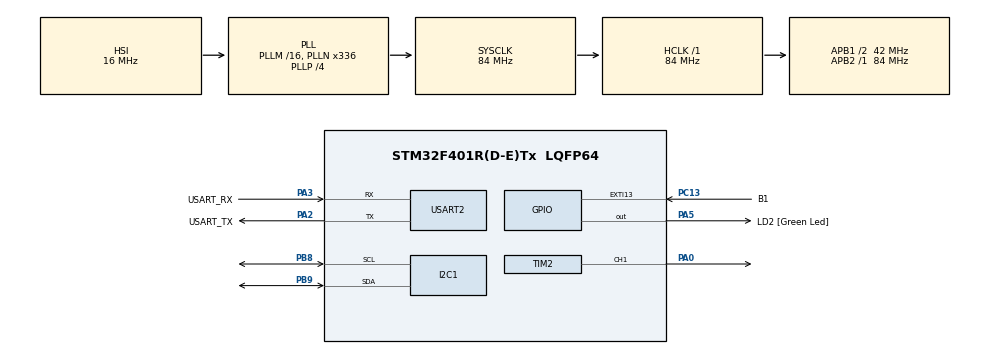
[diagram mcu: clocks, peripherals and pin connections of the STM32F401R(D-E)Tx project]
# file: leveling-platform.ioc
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Mcu.Family=STM32F4
Mcu.Name=STM32F401R(D-E)Tx
Mcu.Package=LQFP64
NVIC.EXTI15_10_IRQn=true\:0\:0\:false\:false\:true\:true\:true\:true
NVIC.PriorityGroup=NVIC_PRIORITYGROUP_0
NVIC.TIM3_IRQn=true\:0\:0\:false\:false\:true\:true\:true\:true
PA0-WKUP.Signal=S_TIM2_CH1_ETR
PA13.GPIO_Label=TMS
PA13.Mode=Serial_Wire
PA13.Signal=SYS_JTMS-SWDIO
PA14.GPIO_Label=TCK
PA14.Mode=Serial_Wire
PA14.Signal=SYS_JTCK-SWCLK
PA2.GPIO_Label=USART_TX
PA2.GPIO_Mode=GPIO_MODE_AF_PP
PA2.GPIO_PuPd=GPIO_NOPULL
PA2.GPIO_Speed=GPIO_SPEED_FREQ_LOW
PA2.Mode=Asynchronous
PA2.Signal=USART2_TX
PA3.GPIO_Label=USART_RX
PA3.GPIO_Mode=GPIO_MODE_AF_PP
PA3.GPIO_PuPd=GPIO_NOPULL
PA3.GPIO_Speed=GPIO_SPEED_FREQ_LOW
PA3.Mode=Asynchronous
PA3.Signal=USART2_RX
PA5.GPIO_Label=LD2 [Green Led]
PA5.GPIO_Mode=GPIO_MODE_OUTPUT_PP
PA5.GPIO_PuPd=GPIO_NOPULL
PA5.GPIO_Speed=GPIO_SPEED_FREQ_LOW
PA5.Signal=GPIO_Output
PB3.GPIO_Label=SWO
PB3.Signal=SYS_JTDO-SWO
PB8.Mode=I2C
PB8.Signal=I2C1_SCL
PB9.Mode=I2C
PB9.Signal=I2C1_SDA
PC13-ANTI_TAMP.GPIO_Label=B1
PC13-ANTI_TAMP.GPIO_ModeDefaultEXTI=GPIO_MODE_IT_FALLING
PC13-ANTI_TAMP.GPIO_PuPd=GPIO_NOPULL
PC13-ANTI_TAMP.Signal=GPXTI13
PC14-OSC32_IN.Signal=RCC_OSC32_IN
PC15-OSC32_OUT.Signal=RCC_OSC32_OUT
PH0\ -\ OSC_IN.Signal=RCC_OSC_IN
PH1\ -\ OSC_OUT.Signal=RCC_OSC_OUT
ProjectManager.HeapSize=0x200
ProjectManager.StackSize=0x400
ProjectManager.TargetToolchain=CMake
RCC.AHBFreq_Value=84000000
RCC.APB1CLKDivider=RCC_HCLK_DIV2
RCC.APB1Freq_Value=42000000
RCC.APB1TimFreq_Value=84000000
RCC.APB2Freq_Value=84000000
RCC.APB2TimFreq_Value=84000000
RCC.CortexFreq_Value=84000000
RCC.HCLKFreq_Value=84000000
RCC.HSE_VALUE=8000000
RCC.HSI_VALUE=16000000
RCC.LSE_VALUE=32768
RCC.PLLN=336
RCC.PLLP=RCC_PLLP_DIV4
RCC.PLLQ=7
RCC.SYSCLKFreq_VALUE=84000000
RCC.SYSCLKSource=RCC_SYSCLKSOURCE_PLLCLK
RCC.VCOOutputFreq_Value=336000000
SH.S_TIM2_CH1_ETR.0=TIM2_CH1,PWM Generation1 CH1
TIM2.Channel-PWM\ Generation1\ CH1=TIM_CHANNEL_1
TIM2.Period=19999
TIM2.Prescaler=83
TIM2.Pulse-PWM\ Generation1\ CH1=1500
TIM3.Period=9999
TIM3.Prescaler=83
USART2.VirtualMode=VM_ASYNC
VP_TIM2_VS_ClockSourceINT.Mode=Internal
VP_TIM3_VS_ClockSourceINT.Mode=Internal
board=NUCLEO-F401RE

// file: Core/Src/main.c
/* USER CODE BEGIN Header */
/**
  ******************************************************************************
  * @file           : main.c
  * @brief          : Main program body
  ******************************************************************************
  * @attention
  *
  * Copyright (c) 2026 STMicroelectronics.
  * All rights reserved.
  *
  * This software is licensed under terms that can be found in the LICENSE file
  * in the root directory of this software component.
  * If no LICENSE file comes with this software, it is provided AS-IS.
  *
  ******************************************************************************
  */
/* USER CODE END Header */
#include "main.h"

/* USER CODE BEGIN Includes */
#include "serial.h"
#include "servo.h"
#include "imu.h"
#include "tick.h"
#include "button.h"
/* USER CODE END Includes */

/* USER CODE BEGIN PD */

#define SERVO_MOUNT_DIRECTION (-1.0f) // servo shaft points right: its + direction is opposite to the IMU's
#define PRINT_EVERY_N_PASSES 10
/* USER CODE END PD */

I2C_HandleTypeDef hi2c1;

TIM_HandleTypeDef htim2;
TIM_HandleTypeDef htim3;

UART_HandleTypeDef huart2;

void SystemClock_Config(void);
static void MX_GPIO_Init(void);
static void MX_USART2_UART_Init(void);
static void MX_TIM2_Init(void);
static void MX_I2C1_Init(void);
static void MX_TIM3_Init(void);

int main(void)
{

  /* MCU Configuration--------------------------------------------------------*/

  /* Reset of all peripherals, Initializes the Flash interface and the Systick. */
  HAL_Init();

  /* Configure the system clock */
  SystemClock_Config();

  /* Initialize all configured peripherals */
  MX_GPIO_Init();
  MX_USART2_UART_Init();
  MX_TIM2_Init();
  MX_I2C1_Init();
  MX_TIM3_Init();
  /* USER CODE BEGIN 2 */
  serial_init();
  servo_init();
  if (!imu_init()) {
    serial_printf("Error initializing IMU\r\n");
    while(1);
  }
  tick_init();

  int loop_counter = 0;

  /* USER CODE END 2 */

  /* Infinite loop */
  while (1)
  {

    /* USER CODE BEGIN 3 */
    if (tick_elapsed()) {

      if (button_was_pressed()) {
        serial_printf("Calibrating, hold still...\r\n");
        if (!imu_calibrate()) {
          serial_printf("Calibration failed.\r\n");
        } else {
          serial_printf("Calibration successful.\r\n");
        }
      }

      imu_reading_g_t reading;
      if (imu_get_reading(&reading) == false) {
      serial_printf("Error getting reading\r\n");
      continue;
      }

      float angle = imu_get_filtered_angle(&reading);
      float angle_correction = -angle;
      if (!servo_set_angle(angle_correction * SERVO_MOUNT_DIRECTION)) {
        serial_printf("Out of range.\r\n");
      }

      loop_counter++;

      if (loop_counter == PRINT_EVERY_N_PASSES) {
        serial_printf("Tilt = %f, Servo = %f\r\n", angle, servo_get_last_angle());
        loop_counter = 0;
      }
    }
  }
  /* USER CODE END 3 */
}

void SystemClock_Config(void)
{
  RCC_OscInitTypeDef RCC_OscInitStruct = {0};
  RCC_ClkInitTypeDef RCC_ClkInitStruct = {0};

  /** Configure the main internal regulator output voltage
  */
  __HAL_RCC_PWR_CLK_ENABLE();
  __HAL_PWR_VOLTAGESCALING_CONFIG(PWR_REGULATOR_VOLTAGE_SCALE2);

  /** Initializes the RCC Oscillators according to the specified parameters
  * in the RCC_OscInitTypeDef structure.
  */
  RCC_OscInitStruct.OscillatorType = RCC_OSCILLATORTYPE_HSI;
  RCC_OscInitStruct.HSIState = RCC_HSI_ON;
  RCC_OscInitStruct.HSICalibrationValue = RCC_HSICALIBRATION_DEFAULT;
  RCC_OscInitStruct.PLL.PLLState = RCC_PLL_ON;
  RCC_OscInitStruct.PLL.PLLSource = RCC_PLLSOURCE_HSI;
  RCC_OscInitStruct.PLL.PLLM = 16;
  RCC_OscInitStruct.PLL.PLLN = 336;
  RCC_OscInitStruct.PLL.PLLP = RCC_PLLP_DIV4;
  RCC_OscInitStruct.PLL.PLLQ = 7;
  if (HAL_RCC_OscConfig(&RCC_OscInitStruct) != HAL_OK)
  {
    Error_Handler();
  }

  /** Initializes the CPU, AHB and APB buses clocks
  */
  RCC_ClkInitStruct.ClockType = RCC_CLOCKTYPE_HCLK|RCC_CLOCKTYPE_SYSCLK
                              |RCC_CLOCKTYPE_PCLK1|RCC_CLOCKTYPE_PCLK2;
  RCC_ClkInitStruct.SYSCLKSource = RCC_SYSCLKSOURCE_PLLCLK;
  RCC_ClkInitStruct.AHBCLKDivider = RCC_SYSCLK_DIV1;
  RCC_ClkInitStruct.APB1CLKDivider = RCC_HCLK_DIV2;
  RCC_ClkInitStruct.APB2CLKDivider = RCC_HCLK_DIV1;

  if (HAL_RCC_ClockConfig(&RCC_ClkInitStruct, FLASH_LATENCY_2) != HAL_OK)
  {
    Error_Handler();
  }
}

static void MX_I2C1_Init(void)
{

  hi2c1.Instance = I2C1;
  hi2c1.Init.ClockSpeed = 100000;
  hi2c1.Init.DutyCycle = I2C_DUTYCYCLE_2;
  hi2c1.Init.OwnAddress1 = 0;
  hi2c1.Init.AddressingMode = I2C_ADDRESSINGMODE_7BIT;
  hi2c1.Init.DualAddressMode = I2C_DUALADDRESS_DISABLE;
  hi2c1.Init.OwnAddress2 = 0;
  hi2c1.Init.GeneralCallMode = I2C_GENERALCALL_DISABLE;
  hi2c1.Init.NoStretchMode = I2C_NOSTRETCH_DISABLE;
  if (HAL_I2C_Init(&hi2c1) != HAL_OK)
  {
    Error_Handler();
  }

}

static void MX_TIM2_Init(void)
{

  TIM_ClockConfigTypeDef sClockSourceConfig = {0};
  TIM_MasterConfigTypeDef sMasterConfig = {0};
  TIM_OC_InitTypeDef sConfigOC = {0};

  htim2.Instance = TIM2;
  htim2.Init.Prescaler = 83;
  htim2.Init.CounterMode = TIM_COUNTERMODE_UP;
  htim2.Init.Period = 19999;
  htim2.Init.ClockDivision = TIM_CLOCKDIVISION_DIV1;
  htim2.Init.AutoReloadPreload = TIM_AUTORELOAD_PRELOAD_DISABLE;
  if (HAL_TIM_Base_Init(&htim2) != HAL_OK)
  {
    Error_Handler();
  }
  sClockSourceConfig.ClockSource = TIM_CLOCKSOURCE_INTERNAL;
  if (HAL_TIM_ConfigClockSource(&htim2, &sClockSourceConfig) != HAL_OK)
  {
    Error_Handler();
  }
  if (HAL_TIM_PWM_Init(&htim2) != HAL_OK)
  {
    Error_Handler();
  }
  sMasterConfig.MasterOutputTrigger = TIM_TRGO_RESET;
  sMasterConfig.MasterSlaveMode = TIM_MASTERSLAVEMODE_DISABLE;
  if (HAL_TIMEx_MasterConfigSynchronization(&htim2, &sMasterConfig) != HAL_OK)
  {
    Error_Handler();
  }
  sConfigOC.OCMode = TIM_OCMODE_PWM1;
  sConfigOC.Pulse = 1500;
  sConfigOC.OCPolarity = TIM_OCPOLARITY_HIGH;
  sConfigOC.OCFastMode = TIM_OCFAST_DISABLE;
  if (HAL_TIM_PWM_ConfigChannel(&htim2, &sConfigOC, TIM_CHANNEL_1) != HAL_OK)
  {
    Error_Handler();
  }
  HAL_TIM_MspPostInit(&htim2);

}

static void MX_TIM3_Init(void)
{

  TIM_ClockConfigTypeDef sClockSourceConfig = {0};
  TIM_MasterConfigTypeDef sMasterConfig = {0};

  htim3.Instance = TIM3;
  htim3.Init.Prescaler = 83;
  htim3.Init.CounterMode = TIM_COUNTERMODE_UP;
  htim3.Init.Period = 9999;
  htim3.Init.ClockDivision = TIM_CLOCKDIVISION_DIV1;
  htim3.Init.AutoReloadPreload = TIM_AUTORELOAD_PRELOAD_DISABLE;
  if (HAL_TIM_Base_Init(&htim3) != HAL_OK)
  {
    Error_Handler();
  }
  sClockSourceConfig.ClockSource = TIM_CLOCKSOURCE_INTERNAL;
  if (HAL_TIM_ConfigClockSource(&htim3, &sClockSourceConfig) != HAL_OK)
  {
    Error_Handler();
  }
  sMasterConfig.MasterOutputTrigger = TIM_TRGO_RESET;
  sMasterConfig.MasterSlaveMode = TIM_MASTERSLAVEMODE_DISABLE;
  if (HAL_TIMEx_MasterConfigSynchronization(&htim3, &sMasterConfig) != HAL_OK)
  {
    Error_Handler();
  }

}

static void MX_USART2_UART_Init(void)
{

  huart2.Instance = USART2;
  huart2.Init.BaudRate = 115200;
  huart2.Init.WordLength = UART_WORDLENGTH_8B;
  huart2.Init.StopBits = UART_STOPBITS_1;
  huart2.Init.Parity = UART_PARITY_NONE;
  huart2.Init.Mode = UART_MODE_TX_RX;
  huart2.Init.HwFlowCtl = UART_HWCONTROL_NONE;
  huart2.Init.OverSampling = UART_OVERSAMPLING_16;
  if (HAL_UART_Init(&huart2) != HAL_OK)
  {
    Error_Handler();
  }

}

static void MX_GPIO_Init(void)
{
  GPIO_InitTypeDef GPIO_InitStruct = {0};

  /* GPIO Ports Clock Enable */
  __HAL_RCC_GPIOC_CLK_ENABLE();
  __HAL_RCC_GPIOH_CLK_ENABLE();
  __HAL_RCC_GPIOA_CLK_ENABLE();
  __HAL_RCC_GPIOB_CLK_ENABLE();

  /*Configure GPIO pin Output Level */
  HAL_GPIO_WritePin(LD2_GPIO_Port, LD2_Pin, GPIO_PIN_RESET);

  /*Configure GPIO pin : B1_Pin */
  GPIO_InitStruct.Pin = B1_Pin;
  GPIO_InitStruct.Mode = GPIO_MODE_IT_FALLING;
  GPIO_InitStruct.Pull = GPIO_NOPULL;
  HAL_GPIO_Init(B1_GPIO_Port, &GPIO_InitStruct);

  /*Configure GPIO pin : LD2_Pin */
  GPIO_InitStruct.Pin = LD2_Pin;
  GPIO_InitStruct.Mode = GPIO_MODE_OUTPUT_PP;
  GPIO_InitStruct.Pull = GPIO_NOPULL;
  GPIO_InitStruct.Speed = GPIO_SPEED_FREQ_LOW;
  HAL_GPIO_Init(LD2_GPIO_Port, &GPIO_InitStruct);

  /* EXTI interrupt init*/
  HAL_NVIC_SetPriority(EXTI15_10_IRQn, 0, 0);
  HAL_NVIC_EnableIRQ(EXTI15_10_IRQn);

}

void Error_Handler(void)
{
  __disable_irq();
  while (1)
  {
  }
}
